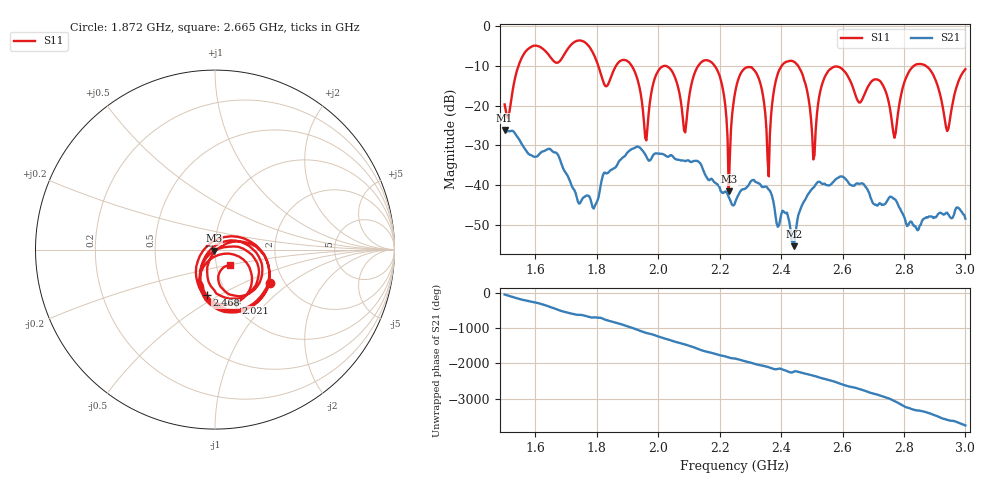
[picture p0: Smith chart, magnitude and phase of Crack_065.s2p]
# HZ S RI R 50
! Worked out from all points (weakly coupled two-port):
!   404 points, 1.5 GHz to 3 GHz, reference 50 ohm
!   highest |S21| = -26.08 dB at 1.5 GHz (marker M1); lowest = -55.4 dB at 2.442 GHz (marker M2)
!   lowest |S11| = -41.6 dB at 2.23 GHz (marker M3), VSWR 1.02, Z = 49.5 - j0.672 ohm
!   |S11| at or under -10 dB: 2.184 GHz to 2.401 GHz (217.1 MHz wide, 9.47 % of centre); 2.456 GHz to 2.831 GHz (375.4 MHz wide, 14.2 % of centre); 2.872 GHz to end of sweep (the widest 3 of 7)
!   S12 and S22 are empty: the file has one direction only
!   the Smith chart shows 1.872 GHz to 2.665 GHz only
!   S11 on the Smith chart (normalised r, x): 1.872 GHz: 1.69, -0.71; 2.021 GHz: 1.04, -0.68; 2.468 GHz: 0.80, -0.44; 2.665 GHz: 1.17, -0.21
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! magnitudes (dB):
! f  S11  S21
! 1.5 GHz  -19.7  -26.1
! 1.753 GHz  -3.7  -43.5
! 1.872 GHz  -9.0  -34.0
! 1.962 GHz  -28.7  -32.8
! 2.002 GHz  -10.9  -32.0
! 2.021 GHz  -9.9  -32.4
! 2.088 GHz  -26.7  -34.0
! 2.181 GHz  -9.7  -39.1
! 2.23 GHz  -41.6  -43.0
! 2.252 GHz  -16.0  -44.1
! 2.315 GHz  -11.3  -39.1
! 2.36 GHz  -37.8  -41.2
! 2.39 GHz  -11.9  -50.5
! 2.442 GHz  -8.9  -55.4
! 2.468 GHz  -11.7  -45.1
! 2.501 GHz  -27.3  -41.0
! 2.565 GHz  -10.5  -39.7
! 2.665 GHz  -18.3  -39.6
! 2.751 GHz  -19.2  -43.3
! 2.862 GHz  -9.6  -48.6
! 2.94 GHz  -26.4  -47.0
! 3 GHz  -10.8  -48.5
